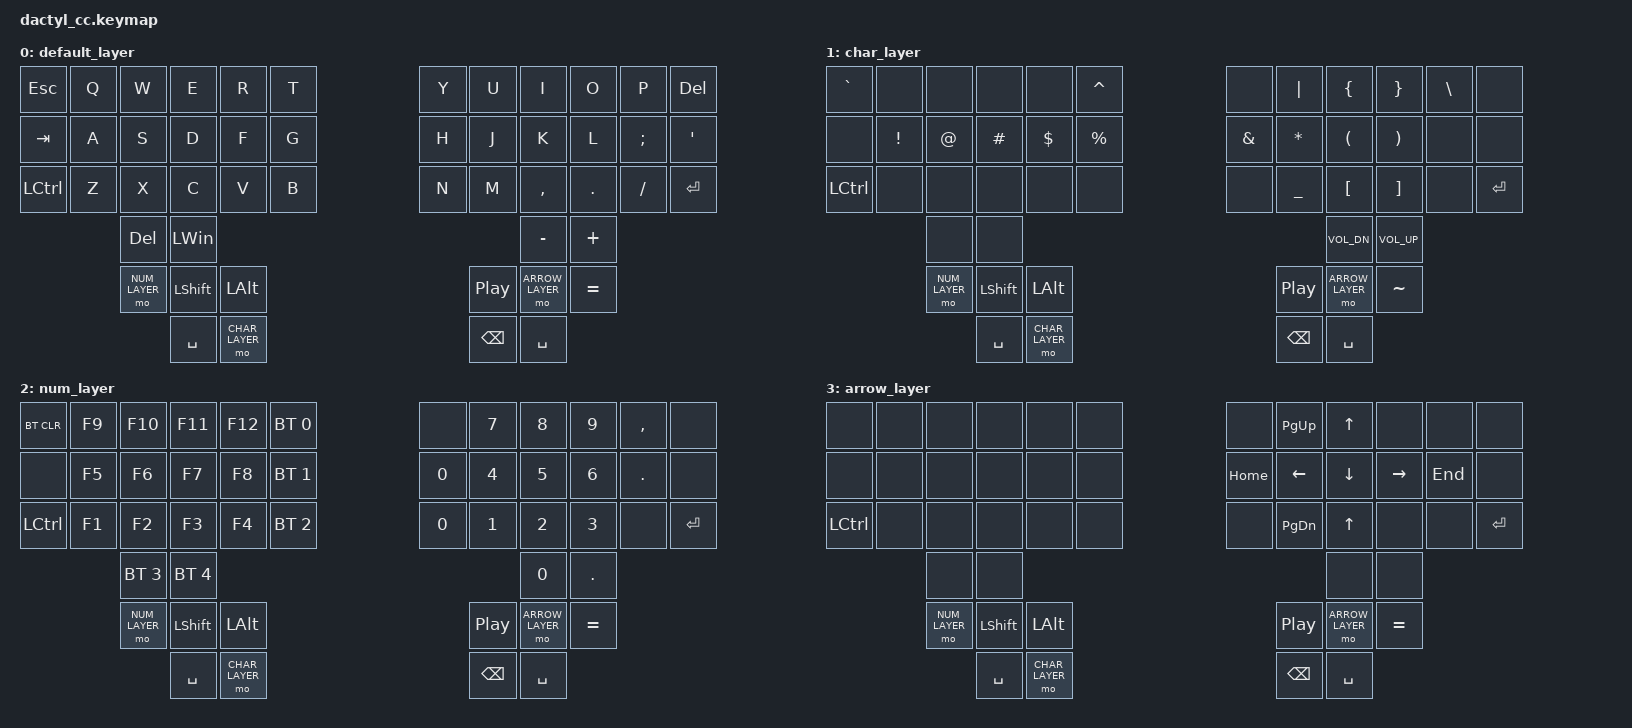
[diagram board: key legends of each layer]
#include <behaviors.dtsi>
#include <dt-bindings/zmk/keys.h>
#include <dt-bindings/zmk/bt.h>
#include <dt-bindings/zmk/outputs.h>

// LAYERS
#define DEFAULT 0
#define CHAR_LAYER 1
#define NUM_LAYER 2
#define ARROW_LAYER 3


/ {
    keymap {
        compatible = "zmk,keymap"; 

        default_layer {
            bindings = <
&kp ESC        &kp Q     &kp W     &kp E     &kp R     &kp T                              &kp Y     &kp U     &kp I       &kp O     &kp P      &kp DEL
&kp TAB        &kp A     &kp S     &kp D     &kp F     &kp G                              &kp H     &kp J     &kp K       &kp L     &kp SEMI   &kp SQT
&kp LCTRL      &kp Z     &kp X     &kp C     &kp V     &kp B                              &kp N     &kp M     &kp COMMA   &kp DOT   &kp FSLH   &kp ENTER
                         &kp DEL  &kp LWIN                                                                    &kp MINUS   &kp PLUS

                           &mo NUM_LAYER    &kp LSHIFT     &kp LALT                          &kp C_PP    &mo ARROW_LAYER   &kp EQUAL
                                     &kp SPACE    &mo CHAR_LAYER                                   &kp BACKSPACE    &kp SPACE
            >;
        };

        char_layer {
            bindings = <
&kp GRAVE  &none      &none     &none      &none     &kp CARET                     &none        &kp PIPE         &kp LEFT_BRACE   &kp RIGHT_BRACE   &kp BACKSLASH   &none
&none      &kp EXCL   &kp AT    &kp HASH   &kp DLLR  &kp PERCENT                   &kp AMPS     &kp ASTRK        &kp LPAR         &kp RPAR          &none           &none
&kp LCTRL  &none      &none     &none      &none     &none                         &none        &kp UNDER        &kp LBKT         &kp RBKT          &none           &kp ENTER
                      &none     &none                                                                            &kp C_VOL_DN     &kp C_VOL_UP

                           &mo NUM_LAYER    &kp LSHIFT     &kp LALT                          &kp C_PP    &mo ARROW_LAYER   &kp TILDE
                                     &kp SPACE    &mo CHAR_LAYER                                   &kp BACKSPACE    &kp SPACE
            >;
        };

        num_layer {
            bindings = <
&bt BT_CLR     &kp F9   &kp F10        &kp F11       &kp F12   &bt BT_SEL 0                     &none    &kp N7   &kp N8   &kp N9   &kp COMMA   &none
&none          &kp F5   &kp F6         &kp F7        &kp F8    &bt BT_SEL 1                     &kp N0   &kp N4   &kp N5   &kp N6   &kp DOT   &none
&kp LCTRL      &kp F1   &kp F2         &kp F3        &kp F4    &bt BT_SEL 2                     &kp N0   &kp N1   &kp N2   &kp N3   &none   &kp ENTER
                        &bt BT_SEL 3   &bt BT_SEL 4                                                               &kp N0   &kp DOT

                           &mo NUM_LAYER    &kp LSHIFT     &kp LALT                          &kp C_PP    &mo ARROW_LAYER   &kp EQUAL
                                     &kp SPACE    &mo CHAR_LAYER                                   &kp BACKSPACE    &kp SPACE
            >;
        };

        arrow_layer {
            bindings = <
&none      &none   &none   &none   &none   &none                   &none      &kp PG_UP   &kp UP     &none       &none     &none
&none      &none   &none   &none   &none   &none                   &kp HOME   &kp LEFT    &kp DOWN   &kp RIGHT   &kp END   &none
&kp LCTRL  &none   &none   &none   &none   &none                   &none      &kp PG_DN   &kp UP     &none       &none     &kp ENTER
                   &none   &none                                                          &none      &none

                           &mo NUM_LAYER    &kp LSHIFT     &kp LALT                          &kp C_PP    &mo ARROW_LAYER   &kp EQUAL
                                     &kp SPACE    &mo CHAR_LAYER                                   &kp BACKSPACE    &kp SPACE
            >;
        };
    };
};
